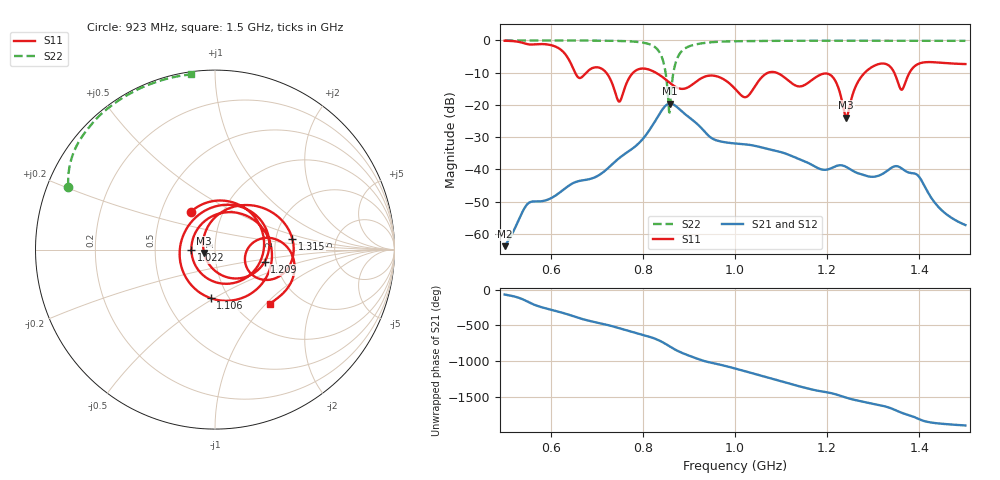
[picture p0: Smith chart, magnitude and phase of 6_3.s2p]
! TOUCHSTONE file generated by CST MICROWAVE STUDIO
! Date and time: Fri Dec 11 13:53:59 2020
! Project name: Scenario_1_Planar_Body_Tissue_Out_of_Line_v2.cst
! Parameters = {dy1=-259.5; L_HA=400; Ltissue=700; MT=2.54; Rad_Dielectric=30; Rad_Lower=7.3; Rad_Upper=30; Wtissue=700; a_HA=580; a_WG=246; b_HA=500; b_WG=121; c_HA=0; c_WG=187; d_feed=85; dx1=520; h_feed=15; h_lower=18; h_upper=40; hfat=3; hgap=25; hmuscle=50; hskin=1.5}
! Header version: 2018
! Port assignment regex: !\s*Touchstone port\s*([0-9]+)\s*=\s*(CST MWS port|CST DS port)\s*([0-9]+|Zmin|Zmax)\s*\(\"(.*)\"\)(\s*mode\s*([0-9]+))?.*
! Touchstone port assignment:
! Touchstone port 1 = CST MWS port 1 ("")
! Touchstone port 2 = CST MWS port 2 ("")
# GHz S DB R 50
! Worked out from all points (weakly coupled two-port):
!   1003 points, 500 MHz to 1.5 GHz, reference 50 ohm
!   highest |S21| = -19.57 dB at 859 MHz (marker M1); lowest = -63.8 dB at 500 MHz (marker M2)
!   lowest |S11| = -23.9 dB at 1.241 GHz (marker M3), VSWR 1.14, Z = 44.2 - j1.63 ohm
!   |S11| at or under -10 dB: 720.6 MHz to 779 MHz (58.41 MHz wide, 7.79 % of centre); 828.1 MHz to 1.072 GHz (243.9 MHz wide, 25.7 % of centre); 1.09 GHz to 1.282 GHz (191.8 MHz wide, 16.2 % of centre) (the widest 3 of 5)
!   |S22| runs from -22.4 to 0.0 dB; largest |S21 - S12| = 6.2e-06
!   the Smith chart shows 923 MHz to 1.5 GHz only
!   S11 on the Smith chart (normalised r, x): 923 MHz: 0.70, +0.31; 1.022 GHz: 0.77, -0.01; 1.106 GHz: 0.83, -0.48; 1.209 GHz: 1.74, -0.26; 1.315 GHz: 2.47, +0.37; 1.5 GHz: 1.42, -1.06
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0.5  -0.09 -121.9  -63.81 -69.2  -63.81 -69.2  -0.01 151.1
0.598  -1.38 -175.0  -49.11 82.6  -49.11 82.6  -0.02 144.3
0.667  -11.45 160.6  -43.44 -49.0  -43.44 -49.0  -0.04 138.4
0.711  -8.80 122.3  -41.19 -117.2  -41.19 -117.2  -0.08 133.5
0.749  -18.99 -32.7  -36.46 178.7  -36.46 178.7  -0.16 127.7
0.789  -9.02 160.1  -32.19 106.1  -32.19 106.1  -0.47 117.3
0.834  -10.51 54.9  -23.28 11.5  -23.28 11.5  -3.20 83.6
0.859  -13.21 -10.9  -19.57 -79.1  -19.57 -79.1  -20.77 -86.9
0.878  -14.86 -70.7  -21.15 -146.0  -21.15 -146.0  -4.57 -170.2
0.923  -12.06 123.0  -26.58 101.1  -26.58 101.1  -1.01 156.7
0.96  -11.11 12.4  -31.00 39.6  -31.00 39.6  -0.45 146.9
1  -14.99 -92.5  -31.96 -24.6  -31.96 -24.6  -0.25 140.2
1.022  -17.61 -178.5  -32.23 -63.6  -32.23 -63.6  -0.21 137.4
1.072  -10.00 -1.2  -33.69 -155.0  -33.69 -155.0  -0.14 132.3
1.106  -11.32 -95.1  -34.91 143.8  -34.91 143.8  -0.12 129.2
1.167  -12.27 87.1  -38.61 40.6  -38.61 40.6  -0.10 124.2
1.209  -10.92 -13.9  -39.62 -10.9  -39.63 -10.9  -0.09 120.9
1.241  -23.90 -163.3  -39.21 -73.3  -39.21 -73.3  -0.09 118.5
1.315  -7.23 8.1  -41.77 -179.2  -41.77 -179.2  -0.08 112.9
1.334  -7.79 -17.9  -40.04 147.8  -40.04 147.8  -0.09 111.5
1.362  -15.29 -9.0  -39.72 73.9  -39.72 73.9  -0.09 109.4
1.5  -7.32 -44.6  -57.25 -102.9  -57.25 -102.9  -0.13 98.0
